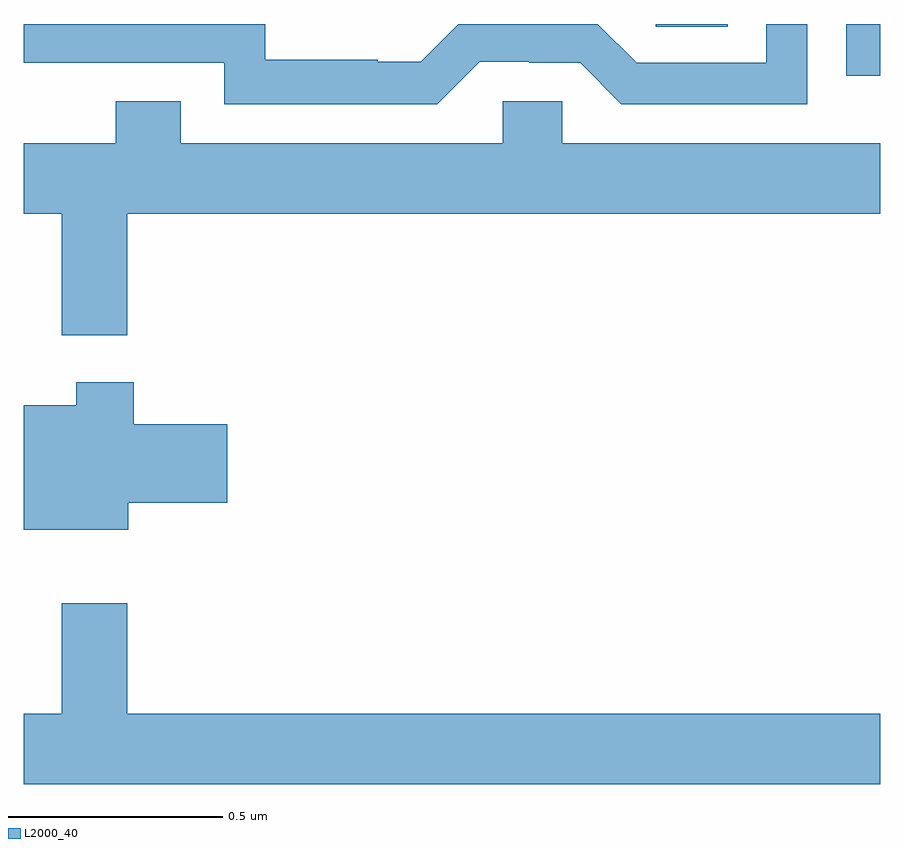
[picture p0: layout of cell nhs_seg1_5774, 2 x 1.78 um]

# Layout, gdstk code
import gdstk
lib = gdstk.Library(unit=1e-6, precision=1e-09)
def R(c, l, rs):  # rectangles x0, y0, x1, y1
    for r in rs: c.add(gdstk.rectangle(r[:2], r[2:], *l))
def P(c, l, *ps):  # polygons
    for p in ps: c.add(gdstk.Polygon(p, *l))
L2000_40 = (2000, 40)

nhs_seg1_5774 = lib.new_cell('nhs_seg1_5774')
R(nhs_seg1_5774, L2000_40, [(184.921,528.078,185,528.199), (184.476,528.193,184.644,528.199)])
P(nhs_seg1_5774, L2000_40, [(184.065,528.111),(184.181,528.111),(184.181,528.108),(184.299,528.108),(184.395,528.012),(184.83,528.012),(184.83,528.199),(184.734,528.199),(184.734,528.108),(184.431,528.108),(184.34,528.199),(184.015,528.199),(183.927,528.111),(183.827,528.111),(183.827,528.115),(183.564,528.115),(183.564,528.199),(183,528.199),(183,528.108),(183.468,528.108),(183.468,528.011),(183.965,528.011)],
  [(183.242,527.756),(185,527.756),(185,527.92),(184.257,527.92),(184.257,528.018),(184.119,528.018),(184.119,527.92),(183.367,527.92),(183.367,528.019),(183.215,528.019),(183.215,527.92),(183,527.92),(183,527.756),(183.089,527.756),(183.089,527.472),(183.242,527.472)],
  [(183.244,527.081),(183.475,527.081),(183.475,527.264),(183.257,527.264),(183.257,527.362),(183.122,527.362),(183.122,527.308),(183,527.308),(183,527.018),(183.244,527.018)],
  [(185,526.588),(183.242,526.588),(183.242,526.846),(183.089,526.846),(183.089,526.588),(183,526.588),(183,526.424),(185,526.424)])

lib.write_gds('nhs_seg1_5774.gds')
